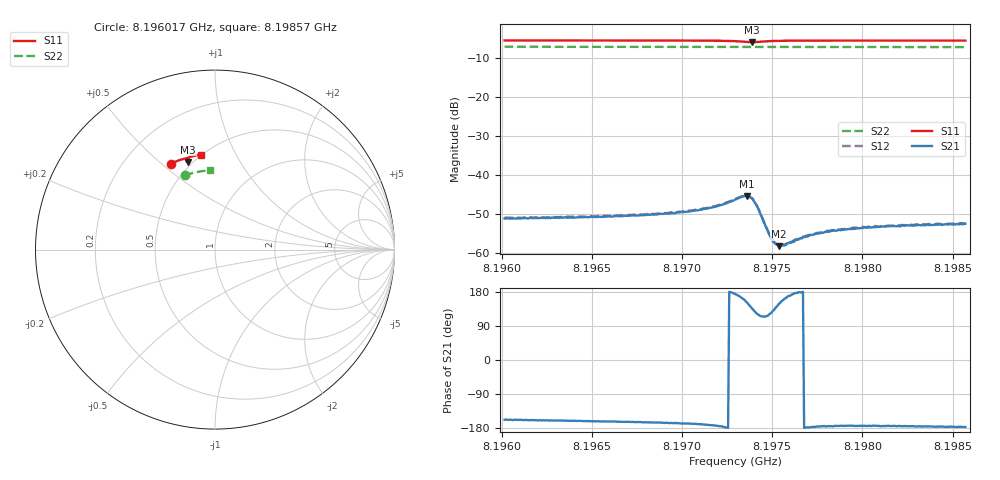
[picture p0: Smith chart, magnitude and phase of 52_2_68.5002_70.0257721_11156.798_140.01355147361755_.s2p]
#  HZ  S  RI  R  50.00
! Rohde & Schwarz Vector Network Analyzer
! Rohde-Schwarz,ZNB20-2Port,1311601062101988,3.16
! Created: UTC 3/20/2024, 4:50:53 PM
! freq[Hz]  re:S11  im:S11  re:S21  im:S21  re:S12  im:S12  re:S22  im:S22
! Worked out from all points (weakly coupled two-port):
!   401 points, 8.196017 GHz to 8.19857 GHz, reference 50 ohm
!   highest |S21| = -45.41 dB at 8.197357 GHz (marker M1); lowest = -58.3 dB at 8.197536 GHz (marker M2)
!   lowest |S11| = -5.8 dB at 8.197389 GHz (marker M3), VSWR 3.09, Z = 23.7 + j31.3 ohm
!   |S11| at or under -10 dB: nowhere
!   |S22| runs from -7.1 to -7.0 dB; largest |S21 - S12| = 0.00032
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8.1960172e9  -0.2457 0.4777  -0.00255 -0.00105  -0.00264 -0.000957  -0.168 0.4129
8.1964448e9  -0.2176 0.4907  -0.00271 -0.000951  -0.00281 -0.00086  -0.1454 0.4207
8.1968724e9  -0.1878 0.5019  -0.00307 -0.00082  -0.00312 -0.000692  -0.1222 0.4271
8.1970958e9  -0.1704 0.5068  -0.00349 -0.000652  -0.00358 -0.000503  -0.11 0.43
8.1971979e9  -0.1607 0.5078  -0.00396 -0.000437  -0.00407 -0.000278  -0.1041 0.4312
8.1972936e9  -0.1489 0.5048  -0.00481 0.000479  -0.00483 0.000652  -0.099 0.4323
8.1973319e9  -0.1446 0.4994  -0.005 0.00147  -0.00505 0.00172  -0.0968 0.4324
8.1973575e9  -0.1443 0.4939  -0.00476 0.00247  -0.00473 0.00271  -0.0954 0.4326
8.1973894e9  -0.1499 0.488  -0.0035 0.00347  -0.00338 0.00369  -0.094 0.4329
8.1974021e9  -0.1533 0.4876  -0.00278 0.00353  -0.00268 0.00366  -0.0931 0.4331
8.1974213e9  -0.1579 0.4896  -0.00187 0.00323  -0.00172 0.00333  -0.0925 0.4333
8.1974723e9  -0.1609 0.4997  -0.000879 0.0018  -0.000823 0.0018  -0.0896 0.4339
8.1974979e9  -0.1592 0.5036  -0.00089 0.00121  -0.000863 0.00124  -0.0882 0.4343
8.197517e9  -0.1576 0.5059  -0.000953 0.000901  -0.000922 0.000951  -0.087 0.4345
8.1975362e9  -0.1559 0.5078  -0.00103 0.000644  -0.00102 0.000753  -0.0863 0.4346
8.1975681e9  -0.1529 0.5101  -0.00119 0.000395  -0.00116 0.000449  -0.0843 0.435
8.1976702e9  -0.1437 0.5147  -0.00158 4.06e-06  -0.00161 6.01e-05  -0.0786 0.436
8.1977213e9  -0.1395 0.5162  -0.00169 -0.000106  -0.00173 -2.71e-05  -0.0757 0.4364
8.197817e9  -0.1321 0.5187  -0.00186 -0.00018  -0.00192 -0.00014  -0.0704 0.4372
8.1979319e9  -0.1232 0.5209  -0.00201 -0.000245  -0.00204 -0.000167  -0.0638 0.438
8.1981489e9  -0.1073 0.5244  -0.00218 -0.00023  -0.00223 -0.000158  -0.0515 0.4392
8.1985701e9  -0.0771 0.5294  -0.00236 -0.000129  -0.00235 -6.35e-05  -0.0278 0.4407
